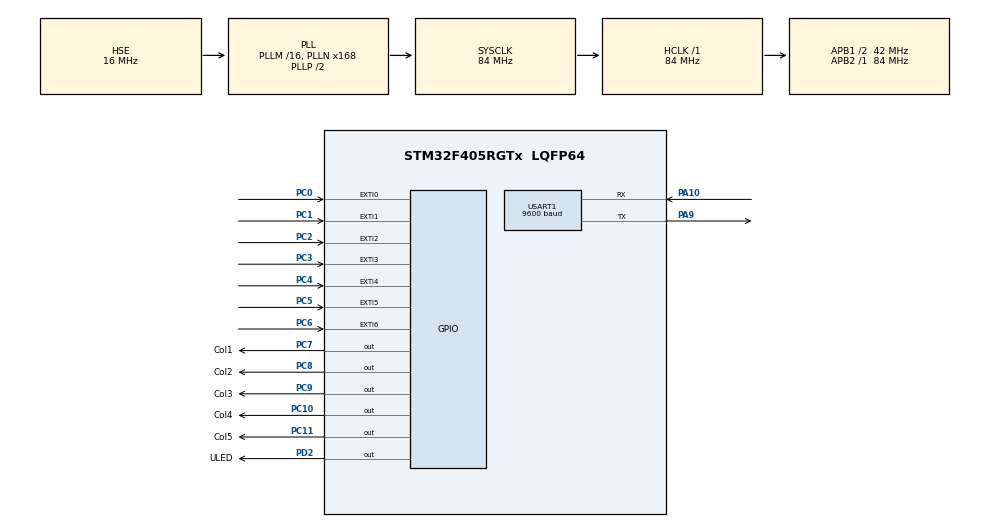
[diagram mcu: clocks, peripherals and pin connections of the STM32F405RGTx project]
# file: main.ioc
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Mcu.Family=STM32F4
Mcu.Name=STM32F405RGTx
Mcu.Package=LQFP64
NVIC.EXTI0_IRQn=true\:0\:0\:false\:false\:true\:true
NVIC.EXTI1_IRQn=true\:0\:0\:false\:false\:true\:true
NVIC.EXTI2_IRQn=true\:0\:0\:false\:false\:true\:true
NVIC.EXTI3_IRQn=true\:0\:0\:false\:false\:true\:true
NVIC.EXTI4_IRQn=true\:0\:0\:false\:false\:true\:true
NVIC.EXTI9_5_IRQn=true\:0\:0\:false\:false\:true\:true
NVIC.PriorityGroup=NVIC_PRIORITYGROUP_4
NVIC.TIM3_IRQn=true\:0\:0\:false\:false\:true\:true
PA10.Mode=Asynchronous
PA10.Signal=USART1_RX
PA13.Mode=Serial_Wire
PA13.Signal=SYS_JTMS-SWDIO
PA14.Mode=Serial_Wire
PA14.Signal=SYS_JTCK-SWCLK
PA5.Signal=SPI1_SCK
PA9.Mode=Asynchronous
PA9.Signal=USART1_TX
PC0.GPIO_PuPd=GPIO_PULLDOWN
PC0.Signal=GPXTI0
PC1.GPIO_PuPd=GPIO_PULLDOWN
PC1.Signal=GPXTI1
PC10.GPIO_Label=Col4
PC10.Signal=GPIO_Output
PC11.GPIO_Label=Col5
PC11.Signal=GPIO_Output
PC14-OSC32_IN.Mode=LSE-External-Oscillator
PC14-OSC32_IN.Signal=RCC_OSC32_IN
PC15-OSC32_OUT.Mode=LSE-External-Oscillator
PC15-OSC32_OUT.Signal=RCC_OSC32_OUT
PC2.GPIO_PuPd=GPIO_PULLDOWN
PC2.Signal=GPXTI2
PC3.GPIO_PuPd=GPIO_PULLDOWN
PC3.Signal=GPXTI3
PC4.GPIO_PuPd=GPIO_PULLDOWN
PC4.Signal=GPXTI4
PC5.GPIO_PuPd=GPIO_PULLDOWN
PC5.Signal=GPXTI5
PC6.GPIO_PuPd=GPIO_PULLDOWN
PC6.Signal=GPXTI6
PC7.GPIO_Label=Col1
PC7.Signal=GPIO_Output
PC8.GPIO_Label=Col2
PC8.Signal=GPIO_Output
PC9.GPIO_Label=Col3
PC9.Signal=GPIO_Output
PD2.GPIO_Label=ULED
PD2.Signal=GPIO_Output
PH0-OSC_IN.Mode=HSE-External-Oscillator
PH0-OSC_IN.Signal=RCC_OSC_IN
PH1-OSC_OUT.Mode=HSE-External-Oscillator
PH1-OSC_OUT.Signal=RCC_OSC_OUT
ProjectManager.HeapSize=0x200
ProjectManager.StackSize=0x400
ProjectManager.TargetToolchain=Makefile
RCC.48MHZClocksFreq_Value=42000000
RCC.AHBFreq_Value=84000000
RCC.APB1CLKDivider=RCC_HCLK_DIV2
RCC.APB1Freq_Value=42000000
RCC.APB1TimFreq_Value=84000000
RCC.APB2Freq_Value=84000000
RCC.APB2TimFreq_Value=84000000
RCC.CortexFreq_Value=84000000
RCC.HCLKFreq_Value=84000000
RCC.HSE_VALUE=16000000
RCC.HSI_VALUE=16000000
RCC.PLLN=168
RCC.PLLSourceVirtual=RCC_PLLSOURCE_HSE
RCC.RCC_RTC_Clock_SourceVirtual=RCC_RTCCLKSOURCE_LSE
RCC.SYSCLKFreq_VALUE=84000000
RCC.SYSCLKSource=RCC_SYSCLKSOURCE_PLLCLK
RCC.VCOOutputFreq_Value=168000000
TIM3.Period=20
TIM3.Prescaler=41999
USART1.BaudRate=9600
USART1.VirtualMode=VM_ASYNC
VP_TIM3_VS_ClockSourceINT.Mode=Internal
board=main

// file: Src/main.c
#include "main.h"
#include "stm32f4xx_hal.h"

/* USER CODE BEGIN Includes */
/* vim: set ai et ts=4 sw=4: */
#include <string.h>
#include <stdarg.h>
#include <stdbool.h>
#include <ctype.h>

/* USER CODE END Includes */

TIM_HandleTypeDef htim3;

UART_HandleTypeDef huart1;

/* USER CODE BEGIN PV */
/* Private variables ---------------------------------------------------------*/

/* USER CODE END PV */

void SystemClock_Config(void);
static void MX_GPIO_Init(void);
static void MX_USART1_UART_Init(void);
static void MX_TIM3_Init(void);

/* USER CODE BEGIN PFP */
/* Private function prototypes -----------------------------------------------*/

/* USER CODE END PFP */

/* USER CODE BEGIN 0 */

void UART_Printf(const char* fmt, ...) {
    char buff[256];
    va_list args;
    va_start(args, fmt);
    vsnprintf(buff, sizeof(buff), fmt, args);
    HAL_UART_Transmit(&huart1, (uint8_t*)buff, strlen(buff),
                      HAL_MAX_DELAY);
    va_end(args);
}

void keyboard_prepare() {
    HAL_GPIO_WritePin(Col1_GPIO_Port, Col1_Pin, GPIO_PIN_RESET);
    HAL_GPIO_WritePin(Col2_GPIO_Port, Col2_Pin, GPIO_PIN_RESET);
    HAL_GPIO_WritePin(Col3_GPIO_Port, Col3_Pin, GPIO_PIN_RESET);
    HAL_GPIO_WritePin(Col4_GPIO_Port, Col4_Pin, GPIO_PIN_RESET);
    HAL_GPIO_WritePin(Col5_GPIO_Port, Col5_Pin, GPIO_PIN_RESET);
}

char* buttons[][5] = {
    /* ROW 1 */ {"q", "e", "r", "u", "o"},
    /* ROW 2 */ {"w", "s", "g", "h", "l"},
    /* ROW 3 */ {"SYM", "d", "t", "y", "i"},
    /* ROW 4 */ {"a", "p", "RSHIFT", "ENTER", "DEL"},
    /* ROW 5 */ {"ALT", "x", "v", "b", "$"},
    /* ROW 6 */ {" ", "z", "c", "n", "m"},
    /* ROW 7 */ {"MIC", "LSHIFT", "f", "j", "k"},
};

char* buttons_alt[][5] = {
    /* ROW 1 */ {"#", "2", "3", "_", "+"},
    /* ROW 2 */ {"1", "4", "/", ":", "\""},
    /* ROW 3 */ {NULL, "5", "(", ")", "-"},
    /* ROW 4 */ {"*", "@", NULL, NULL, NULL},
    /* ROW 5 */ {NULL, "8", "?", "!", NULL},
    /* ROW 6 */ {NULL, "7", "9", ",", "."},
    /* ROW 7 */ {"0", NULL, "6", ";", "'"},
};

// button should be released before
// pressing next button
bool btn_released = true;
bool shift_pressed = false;
bool alt_pressed = false;
uint32_t line_length = 0;

void button_pressed(uint8_t row, uint8_t col) {
    char buff[16];
    if(alt_pressed && (buttons_alt[row-1][col-1] != NULL)) {
        strncpy(buff, buttons_alt[row-1][col-1], sizeof(buff));
    } else {
        strncpy(buff, buttons[row-1][col-1], sizeof(buff));
    }

    if((strcmp(buff, "LSHIFT") == 0) || (strcmp(buff, "RSHIFT") == 0)) {
        shift_pressed = !shift_pressed;
        alt_pressed = false;
    } else if(strcmp(buff, "DEL") == 0) {
        if(line_length > 0) {
            UART_Printf("\x08 \x08");
            line_length--;
            shift_pressed = false;
            alt_pressed = false;
        }
    } else if(strcmp(buff, "ALT") == 0) {
        alt_pressed = true;
        shift_pressed = false;
        // ULED will blink once. Since shift_pressed is false it will be turned off shortly.
        HAL_GPIO_WritePin(ULED_GPIO_Port, ULED_Pin, GPIO_PIN_SET);
    } else if((strcmp(buff, "MIC") == 0) || (strcmp(buff, "SYM") == 0)) {
        // ignore
    } else if(strcmp(buff, "ENTER") == 0) {
        UART_Printf("\r\n");
        line_length = 0;
        shift_pressed = false;
        alt_pressed = false;
    } else { // regular button
        if(shift_pressed && isalpha(buff[0])) {
            buff[0] = (char)toupper(buff[0]);
        }

        UART_Printf("%s", buff);
        line_length++;
        shift_pressed = false;
        alt_pressed = false;
    }
}

void set_current_column(uint8_t column) {
    switch(column) {
    case 1:
        HAL_GPIO_WritePin(Col5_GPIO_Port, Col5_Pin, GPIO_PIN_RESET);
        HAL_GPIO_WritePin(Col1_GPIO_Port, Col1_Pin, GPIO_PIN_SET);
        break;
    case 2:
        HAL_GPIO_WritePin(Col1_GPIO_Port, Col1_Pin, GPIO_PIN_RESET);
        HAL_GPIO_WritePin(Col2_GPIO_Port, Col2_Pin, GPIO_PIN_SET);
        break;
    case 3:
        HAL_GPIO_WritePin(Col2_GPIO_Port, Col2_Pin, GPIO_PIN_RESET);
        HAL_GPIO_WritePin(Col3_GPIO_Port, Col3_Pin, GPIO_PIN_SET);
        break;
    case 4:
        HAL_GPIO_WritePin(Col3_GPIO_Port, Col3_Pin, GPIO_PIN_RESET);
        HAL_GPIO_WritePin(Col4_GPIO_Port, Col4_Pin, GPIO_PIN_SET);
        break;
    default:
        HAL_GPIO_WritePin(Col4_GPIO_Port, Col4_Pin, GPIO_PIN_RESET);
        HAL_GPIO_WritePin(Col5_GPIO_Port, Col5_Pin, GPIO_PIN_SET);
        break;
    }
}

uint8_t current_column = 1;
bool some_button_pressed_during_scan = false;
bool button_was_released = true;

// called from HAL_TIM_PeriodElapsedCallback
void change_column() {
    current_column++;
    if(current_column > 5) {
        button_was_released = !some_button_pressed_during_scan;
        current_column = 1;
        some_button_pressed_during_scan = false;
    }
    set_current_column(current_column);
}

// called from  HAL_GPIO_EXTI_Callback
void row_selected(uint16_t pin) {
    if(some_button_pressed_during_scan) {
        // process only one button per complete scan
        return;
    }

    some_button_pressed_during_scan = true;

    if(!button_was_released) {
        // if user holds a button don't process it multiple times
        return;
    }

    if(pin == GPIO_PIN_0) {
        button_pressed(1, current_column);
    } else if(pin == GPIO_PIN_1) {
        button_pressed(2, current_column);
    } else if(pin == GPIO_PIN_2) {
        button_pressed(3, current_column);
    } else if(pin == GPIO_PIN_3) {
        button_pressed(4, current_column);
    } else if(pin == GPIO_PIN_4) {
        button_pressed(5, current_column);
    } else if(pin == GPIO_PIN_5) {
        button_pressed(6, current_column);
    } else if(pin == GPIO_PIN_6) {
        button_pressed(7, current_column);
    }
}

void init() {
    keyboard_prepare();
    HAL_TIM_Base_Start_IT(&htim3);
    UART_Printf("Ready!\r\n");
    HAL_Delay(1);
}

void loop() {
    HAL_GPIO_WritePin(ULED_GPIO_Port, ULED_Pin,
        shift_pressed ? GPIO_PIN_SET : GPIO_PIN_RESET);

    HAL_Delay(100);
}

/* USER CODE END 0 */

int main(void)
{

  /* MCU Configuration----------------------------------------------------------*/

  /* Reset of all peripherals, Initializes the Flash interface and the Systick. */
  HAL_Init();

  /* Configure the system clock */
  SystemClock_Config();

  /* Initialize all configured peripherals */
  MX_GPIO_Init();
  MX_USART1_UART_Init();
  MX_TIM3_Init();

  /* Infinite loop */
  /* USER CODE BEGIN WHILE */
  init();
  while (1)
  {
    loop();
  /* USER CODE END WHILE */

  }

}

/** System Clock Configuration
*/
void SystemClock_Config(void)
{

  RCC_OscInitTypeDef RCC_OscInitStruct;
  RCC_ClkInitTypeDef RCC_ClkInitStruct;

    /**Configure the main internal regulator output voltage
    */
  __HAL_RCC_PWR_CLK_ENABLE();

  __HAL_PWR_VOLTAGESCALING_CONFIG(PWR_REGULATOR_VOLTAGE_SCALE1);

    /**Initializes the CPU, AHB and APB busses clocks
    */
  RCC_OscInitStruct.OscillatorType = RCC_OSCILLATORTYPE_HSE;
  RCC_OscInitStruct.HSEState = RCC_HSE_ON;
  RCC_OscInitStruct.PLL.PLLState = RCC_PLL_ON;
  RCC_OscInitStruct.PLL.PLLSource = RCC_PLLSOURCE_HSE;
  RCC_OscInitStruct.PLL.PLLM = 16;
  RCC_OscInitStruct.PLL.PLLN = 168;
  RCC_OscInitStruct.PLL.PLLP = RCC_PLLP_DIV2;
  RCC_OscInitStruct.PLL.PLLQ = 4;
  if (HAL_RCC_OscConfig(&RCC_OscInitStruct) != HAL_OK)
  {
    _Error_Handler(__FILE__, __LINE__);
  }

    /**Initializes the CPU, AHB and APB busses clocks
    */
  RCC_ClkInitStruct.ClockType = RCC_CLOCKTYPE_HCLK|RCC_CLOCKTYPE_SYSCLK
                              |RCC_CLOCKTYPE_PCLK1|RCC_CLOCKTYPE_PCLK2;
  RCC_ClkInitStruct.SYSCLKSource = RCC_SYSCLKSOURCE_PLLCLK;
  RCC_ClkInitStruct.AHBCLKDivider = RCC_SYSCLK_DIV1;
  RCC_ClkInitStruct.APB1CLKDivider = RCC_HCLK_DIV2;
  RCC_ClkInitStruct.APB2CLKDivider = RCC_HCLK_DIV1;

  if (HAL_RCC_ClockConfig(&RCC_ClkInitStruct, FLASH_LATENCY_2) != HAL_OK)
  {
    _Error_Handler(__FILE__, __LINE__);
  }

    /**Configure the Systick interrupt time
    */
  HAL_SYSTICK_Config(HAL_RCC_GetHCLKFreq()/1000);

    /**Configure the Systick
    */
  HAL_SYSTICK_CLKSourceConfig(SYSTICK_CLKSOURCE_HCLK);

  /* SysTick_IRQn interrupt configuration */
  HAL_NVIC_SetPriority(SysTick_IRQn, 0, 0);
}

/* TIM3 init function */
static void MX_TIM3_Init(void)
{

  TIM_ClockConfigTypeDef sClockSourceConfig;
  TIM_MasterConfigTypeDef sMasterConfig;

  htim3.Instance = TIM3;
  htim3.Init.Prescaler = 41999;
  htim3.Init.CounterMode = TIM_COUNTERMODE_UP;
  htim3.Init.Period = 20;
  htim3.Init.ClockDivision = TIM_CLOCKDIVISION_DIV1;
  if (HAL_TIM_Base_Init(&htim3) != HAL_OK)
  {
    _Error_Handler(__FILE__, __LINE__);
  }

  sClockSourceConfig.ClockSource = TIM_CLOCKSOURCE_INTERNAL;
  if (HAL_TIM_ConfigClockSource(&htim3, &sClockSourceConfig) != HAL_OK)
  {
    _Error_Handler(__FILE__, __LINE__);
  }

  sMasterConfig.MasterOutputTrigger = TIM_TRGO_RESET;
  sMasterConfig.MasterSlaveMode = TIM_MASTERSLAVEMODE_DISABLE;
  if (HAL_TIMEx_MasterConfigSynchronization(&htim3, &sMasterConfig) != HAL_OK)
  {
    _Error_Handler(__FILE__, __LINE__);
  }

}

/* USART1 init function */
static void MX_USART1_UART_Init(void)
{

  huart1.Instance = USART1;
  huart1.Init.BaudRate = 9600;
  huart1.Init.WordLength = UART_WORDLENGTH_8B;
  huart1.Init.StopBits = UART_STOPBITS_1;
  huart1.Init.Parity = UART_PARITY_NONE;
  huart1.Init.Mode = UART_MODE_TX_RX;
  huart1.Init.HwFlowCtl = UART_HWCONTROL_NONE;
  huart1.Init.OverSampling = UART_OVERSAMPLING_16;
  if (HAL_UART_Init(&huart1) != HAL_OK)
  {
    _Error_Handler(__FILE__, __LINE__);
  }

}

/** Configure pins as
        * Analog
        * Input
        * Output
        * EVENT_OUT
        * EXTI
     PA5   ------> SPI1_SCK
*/
static void MX_GPIO_Init(void)
{

  GPIO_InitTypeDef GPIO_InitStruct;

  /* GPIO Ports Clock Enable */
  __HAL_RCC_GPIOC_CLK_ENABLE();
  __HAL_RCC_GPIOH_CLK_ENABLE();
  __HAL_RCC_GPIOA_CLK_ENABLE();
  __HAL_RCC_GPIOD_CLK_ENABLE();

  /*Configure GPIO pin Output Level */
  HAL_GPIO_WritePin(GPIOC, Col1_Pin|Col2_Pin|Col3_Pin|Col4_Pin
                          |Col5_Pin, GPIO_PIN_RESET);

  /*Configure GPIO pin Output Level */
  HAL_GPIO_WritePin(ULED_GPIO_Port, ULED_Pin, GPIO_PIN_RESET);

  /*Configure GPIO pins : PC0 PC1 PC2 PC3
                           PC4 PC5 PC6 */
  GPIO_InitStruct.Pin = GPIO_PIN_0|GPIO_PIN_1|GPIO_PIN_2|GPIO_PIN_3
                          |GPIO_PIN_4|GPIO_PIN_5|GPIO_PIN_6;
  GPIO_InitStruct.Mode = GPIO_MODE_IT_RISING;
  GPIO_InitStruct.Pull = GPIO_PULLDOWN;
  HAL_GPIO_Init(GPIOC, &GPIO_InitStruct);

  /*Configure GPIO pin : PA5 */
  GPIO_InitStruct.Pin = GPIO_PIN_5;
  GPIO_InitStruct.Mode = GPIO_MODE_AF_PP;
  GPIO_InitStruct.Pull = GPIO_NOPULL;
  GPIO_InitStruct.Speed = GPIO_SPEED_FREQ_VERY_HIGH;
  GPIO_InitStruct.Alternate = GPIO_AF5_SPI1;
  HAL_GPIO_Init(GPIOA, &GPIO_InitStruct);

  /*Configure GPIO pins : Col1_Pin Col2_Pin Col3_Pin Col4_Pin
                           Col5_Pin */
  GPIO_InitStruct.Pin = Col1_Pin|Col2_Pin|Col3_Pin|Col4_Pin
                          |Col5_Pin;
  GPIO_InitStruct.Mode = GPIO_MODE_OUTPUT_PP;
  GPIO_InitStruct.Pull = GPIO_NOPULL;
  GPIO_InitStruct.Speed = GPIO_SPEED_FREQ_LOW;
  HAL_GPIO_Init(GPIOC, &GPIO_InitStruct);

  /*Configure GPIO pin : ULED_Pin */
  GPIO_InitStruct.Pin = ULED_Pin;
  GPIO_InitStruct.Mode = GPIO_MODE_OUTPUT_PP;
  GPIO_InitStruct.Pull = GPIO_NOPULL;
  GPIO_InitStruct.Speed = GPIO_SPEED_FREQ_LOW;
  HAL_GPIO_Init(ULED_GPIO_Port, &GPIO_InitStruct);

  /* EXTI interrupt init*/
  HAL_NVIC_SetPriority(EXTI0_IRQn, 0, 0);
  HAL_NVIC_EnableIRQ(EXTI0_IRQn);

  HAL_NVIC_SetPriority(EXTI1_IRQn, 0, 0);
  HAL_NVIC_EnableIRQ(EXTI1_IRQn);

  HAL_NVIC_SetPriority(EXTI2_IRQn, 0, 0);
  HAL_NVIC_EnableIRQ(EXTI2_IRQn);

  HAL_NVIC_SetPriority(EXTI3_IRQn, 0, 0);
  HAL_NVIC_EnableIRQ(EXTI3_IRQn);

  HAL_NVIC_SetPriority(EXTI4_IRQn, 0, 0);
  HAL_NVIC_EnableIRQ(EXTI4_IRQn);

  HAL_NVIC_SetPriority(EXTI9_5_IRQn, 0, 0);
  HAL_NVIC_EnableIRQ(EXTI9_5_IRQn);

}

void _Error_Handler(char * file, int line)
{
  while(1)
  {
  }
}

/************************ (C) COPYRIGHT STMicroelectronics *****END OF FILE****/
